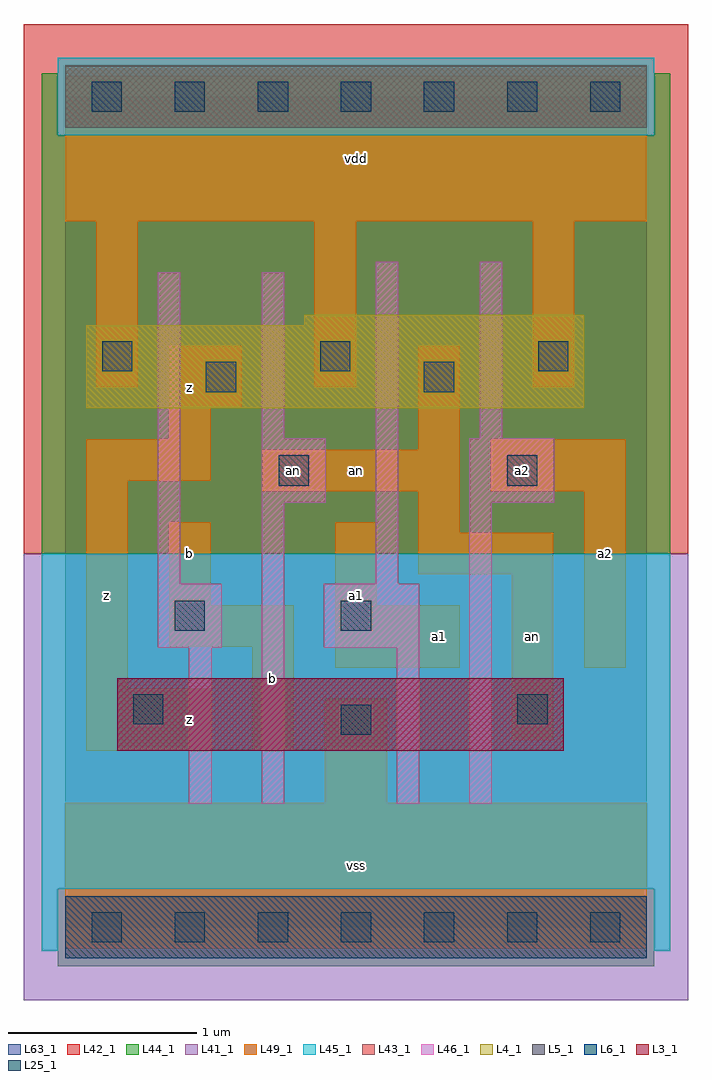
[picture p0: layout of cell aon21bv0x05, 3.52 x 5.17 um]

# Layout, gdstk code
import gdstk
lib = gdstk.Library(unit=1e-6, precision=1e-09)
def R(c, l, rs):  # rectangles x0, y0, x1, y1
    for r in rs: c.add(gdstk.rectangle(r[:2], r[2:], *l))
def A(c, l, x, y, w, h, nx, ny, dx, dy):  # array of equal rectangles
    R(c, l, [(x+i*dx, y+j*dy, x+i*dx+w, y+j*dy+h) for i in range(nx) for j in range(ny)])
L3_1 = (3, 1)
L4_1 = (4, 1)
L5_1 = (5, 1)
L6_1 = (6, 1)
L25_1 = (25, 1)
L41_1 = (41, 1)
L42_1 = (42, 1)
L43_1 = (43, 1)
L44_1 = (44, 1)
L45_1 = (45, 1)
L46_1 = (46, 1)
L49_1 = (49, 1)
L63_1 = (63, 1)

aon21bv0x05 = lib.new_cell('aon21bv0x05')
R(aon21bv0x05, L3_1, [(0.275,0.935,2.64,1.32)])
R(aon21bv0x05, L4_1, [(0.11,2.75,2.75,3.19), (1.265,3.19,2.75,3.245)])
R(aon21bv0x05, L5_1, [(0,4.235,3.08,4.565)])
R(aon21bv0x05, L6_1, [(0,-0.165,3.08,0.165)])
A(aon21bv0x05, L25_1, 0.14, -0.08, 0.16, 0.16, 7, 2, 0.44, 4.4)
A(aon21bv0x05, L25_1, 0.195, 2.945, 0.16, 0.16, 3, 1, 1.155, 0)
R(aon21bv0x05, L25_1, [(1.46,1.02,1.62,1.18), (0.36,1.075,0.52,1.235), (2.395,1.075,2.555,1.235), (0.58,1.57,0.74,1.73), (1.46,1.57,1.62,1.73), (1.13,2.34,1.29,2.5), (2.34,2.34,2.5,2.5), (0.745,2.835,0.905,2.995), (1.9,2.835,2.06,2.995)])
R(aon21bv0x05, L41_1, [(-0.22,-0.385,3.3,1.98)])
R(aon21bv0x05, L42_1, [(-0.22,1.98,3.3,4.785)])
R(aon21bv0x05, L43_1, [(0,-0.165,3.08,0.165), (0.275,0.935,2.64,1.32), (0.11,2.75,2.75,3.19), (1.265,3.19,2.75,3.245), (0,4.235,3.08,4.565)])
R(aon21bv0x05, L44_1, [(-0.04,-0.205,3.12,0.205), (-0.125,1.98,3.205,4.195), (-0.125,4.195,-0.04,4.525), (3.12,4.195,3.205,4.525)])
R(aon21bv0x05, L45_1, [(-0.125,-0.125,-0.04,0.205), (3.12,-0.125,3.205,0.205), (-0.125,0.205,3.205,1.98), (-0.04,4.195,3.12,4.605)])
R(aon21bv0x05, L46_1, [(0.655,0.655,0.775,1.48), (1.04,0.655,1.16,2.25), (1.755,0.655,1.875,1.48), (2.14,0.655,2.26,2.25), (0.49,1.48,0.83,1.82), (1.37,1.48,1.875,1.82), (0.49,1.82,0.61,3.47), (1.645,1.82,1.765,3.525), (1.04,2.25,1.38,2.59), (2.14,2.25,2.59,2.59), (1.04,2.59,1.16,3.47), (2.195,2.59,2.315,3.525)])
A(aon21bv0x05, L49_1, 0.165, 2.86, 0.22, 0.88, 3, 1, 1.155, 0)
R(aon21bv0x05, L49_1, [(0,-0.11,3.08,0.66), (1.375,0.66,1.705,1.21), (0.11,0.935,0.77,1.265), (0.99,0.935,1.21,1.485), (2.365,0.99,2.585,1.87), (0.11,1.265,0.33,2.365), (1.43,1.375,2.09,1.705), (2.75,1.375,2.97,2.31), (0.55,1.485,1.21,1.705), (0.55,1.705,0.77,2.145), (1.43,1.705,1.65,2.145), (1.87,1.87,2.585,2.09), (1.87,2.09,2.09,2.31), (1.045,2.31,2.09,2.53), (2.255,2.31,2.97,2.585), (0.11,2.365,0.77,2.585), (1.87,2.53,2.09,3.08), (0.55,2.585,0.77,2.75), (0.55,2.75,0.935,3.08), (0,3.74,3.08,4.51)])
R(aon21bv0x05, L63_1, [(0,0,3.08,4.4)])
aon21bv0x05.add(gdstk.Label('an', (1.21,2.42), layer=49, texttype=1))
aon21bv0x05.add(gdstk.Label('z', (0.22,1.76), layer=49, texttype=1))
aon21bv0x05.add(gdstk.Label('z', (0.66,1.1), layer=49, texttype=1))
aon21bv0x05.add(gdstk.Label('b', (0.66,1.98), layer=49, texttype=1))
aon21bv0x05.add(gdstk.Label('b', (1.1,1.32), layer=49, texttype=1))
aon21bv0x05.add(gdstk.Label('z', (0.66,2.86), layer=49, texttype=1))
aon21bv0x05.add(gdstk.Label('vss', (1.54,0.33), layer=49, texttype=1))
aon21bv0x05.add(gdstk.Label('a1', (1.54,1.76), layer=49, texttype=1))
aon21bv0x05.add(gdstk.Label('a1', (1.98,1.54), layer=49, texttype=1))
aon21bv0x05.add(gdstk.Label('an', (1.54,2.42), layer=49, texttype=1))
aon21bv0x05.add(gdstk.Label('vdd', (1.54,4.07), layer=49, texttype=1))
aon21bv0x05.add(gdstk.Label('an', (2.475,1.54), layer=49, texttype=1))
aon21bv0x05.add(gdstk.Label('a2', (2.86,1.98), layer=49, texttype=1))
aon21bv0x05.add(gdstk.Label('a2', (2.42,2.42), layer=49, texttype=1))

lib.write_gds('aon21bv0x05.gds')
